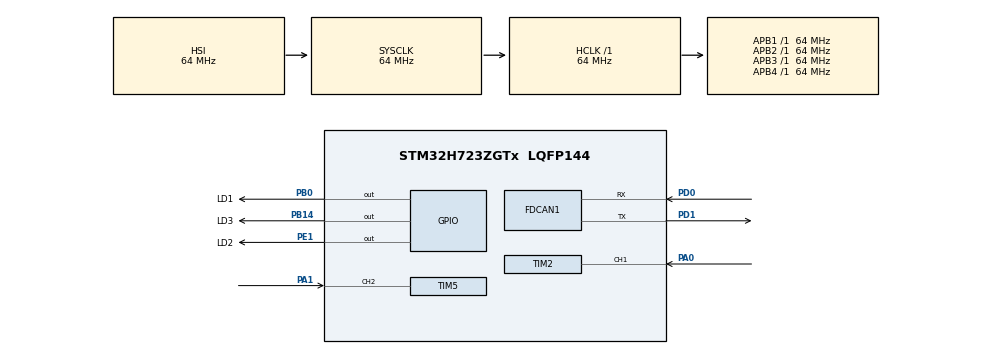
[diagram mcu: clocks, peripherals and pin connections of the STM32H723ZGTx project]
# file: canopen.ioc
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CORTEX_M7.default_mode_Activation=1
FDCAN1.AutoRetransmission=ENABLE
FDCAN1.CalculateBaudRateNominal=500000
FDCAN1.CalculateTimeBitNominal=2000
FDCAN1.CalculateTimeQuantumNominal=125.0
FDCAN1.NominalPrescaler=6
FDCAN1.NominalSyncJumpWidth=2
FDCAN1.NominalTimeSeg1=13
FDCAN1.NominalTimeSeg2=2
FDCAN1.RxFifo0ElmtsNbr=8
FDCAN1.StdFiltersNbr=1
FDCAN1.TxFifoQueueElmtsNbr=32
FREERTOS.Tasks01=defaultTask,24,128,StartDefaultTask,Default,NULL,Dynamic,NULL,NULL;canopen,40,128,canopen_task,Default,NULL,Dynamic,NULL,NULL
Mcu.Family=STM32H7
Mcu.Name=STM32H723ZGTx
Mcu.Package=LQFP144
NVIC.FDCAN1_IT0_IRQn=true\:5\:0\:false\:false\:true\:true\:true\:true\:true
NVIC.FDCAN1_IT1_IRQn=true\:5\:0\:false\:false\:true\:true\:true\:true\:true
NVIC.PriorityGroup=NVIC_PRIORITYGROUP_4
NVIC.TIM1_UP_IRQn=true\:15\:0\:false\:false\:true\:false\:false\:true\:true
NVIC.TimeBase=TIM1_UP_IRQn
NVIC.TimeBaseIP=TIM1
PA0.Signal=S_TIM2_CH1_ETR
PA1.Signal=S_TIM5_CH2
PB0.GPIO_Label=LD1
PB0.Signal=GPIO_Output
PB14.GPIO_Label=LD3
PB14.Signal=GPIO_Output
PD0.Mode=FDCAN_Activate
PD0.Signal=FDCAN1_RX
PD1.Mode=FDCAN_Activate
PD1.Signal=FDCAN1_TX
PE1.GPIO_Label=LD2
PE1.Signal=GPIO_Output
ProjectManager.HeapSize=0x200
ProjectManager.StackSize=0x400
ProjectManager.TargetToolchain=CMake
RCC.ADCFreq_Value=129000000
RCC.APB1Freq_Value=64000000
RCC.APB2Freq_Value=64000000
RCC.APB3Freq_Value=64000000
RCC.APB4Freq_Value=64000000
RCC.CortexFreq_Value=64000000
RCC.DIVM1=4
RCC.DIVN1=12
RCC.DIVQ1=4
RCC.HCLKFreq_Value=64000000
RCC.PLLFRACN=0
RCC.SYSCLKFreq_VALUE=64000000
RCC.USBFreq_Value=48000000
SH.S_TIM2_CH1_ETR.0=TIM2_CH1,Input_Capture1_from_TI1
SH.S_TIM5_CH2.0=TIM5_CH2,Input_Capture2_from_TI2
TIM2.Channel-Input_Capture1_from_TI1=TIM_CHANNEL_1
TIM5.Channel-Input_Capture2_from_TI2=TIM_CHANNEL_2
VP_FREERTOS_VS_CMSIS_V2.Mode=CMSIS_V2
VP_MEMORYMAP_VS_MEMORYMAP.Mode=CurAppReg
VP_SYS_VS_tim1.Mode=TIM1
VP_TIM17_VS_ClockSourceINT.Mode=Enable_Timer
board=custom

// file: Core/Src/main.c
/* USER CODE BEGIN Header */
/**
  ******************************************************************************
  * @file           : main.c
  * @brief          : Main program body
  ******************************************************************************
  * @attention
  *
  * Copyright (c) 2026 STMicroelectronics.
  * All rights reserved.
  *
  * This software is licensed under terms that can be found in the LICENSE file
  * in the root directory of this software component.
  * If no LICENSE file comes with this software, it is provided AS-IS.
  *
  ******************************************************************************
  */
/* USER CODE END Header */
#include "main.h"
#include "cmsis_os.h"
#include "fdcan.h"
#include "tim.h"
#include "gpio.h"

/* USER CODE BEGIN Includes */
#include "CO_app_STM32.h"
#include "stm32h7xx_hal_tim.h"

/* USER CODE END Includes */

/* USER CODE BEGIN PD */

#define MAGNET_DEBOUNCE_TIME_MS 10
#define SPARK_DEBOUNCE_TIME_MS 5
#define TIM3_CLOCK_FREQ 1000000.0f  // Adjust to your actual TIM3 clock frequency
#define TIM8_CLOCK_FREQ 1000000.0f  // Adjust to your actual TIM8 clock frequency
#define SMOOTHING_FACTOR 0.1f
#define TIRE_CIRCUMFERENCE_KM 0.0016f // Example circumference
#define PULSES_PER_REV 1.0f
#define MAX_RPM_LIMIT 4500.0f

/* USER CODE END PD */

/* USER CODE BEGIN PV */
volatile uint32_t speedometer_kmh = 0;
volatile uint32_t last_magnet_time = 0;
volatile uint32_t tach_rpm = 0;

volatile uint32_t last_spark_time = 0;
static uint32_t previous_speedometer_capture_value = 0;
static uint32_t previous_tachometer_capture_value = 0;
static float smoothed_speed_freq = 0.0f;
static float smoothed_tach_freq = 0.0f;

/* USER CODE END PV */

void SystemClock_Config(void);
static void MPU_Config(void);
void MX_FREERTOS_Init(void);

int main(void)
{

  /* MPU Configuration--------------------------------------------------------*/
  MPU_Config();

  /* MCU Configuration--------------------------------------------------------*/

  /* Reset of all peripherals, Initializes the Flash interface and the Systick. */
  HAL_Init();

  /* Configure the system clock */
  SystemClock_Config();

  /* Initialize all configured peripherals */
  MX_GPIO_Init();
  MX_FDCAN1_Init();
  MX_TIM17_Init();
  MX_TIM2_Init();
  MX_TIM5_Init();
  /* USER CODE BEGIN 2 */

  HAL_TIM_IC_Start_IT(&htim2, TIM_CHANNEL_1);
  HAL_TIM_IC_Start_IT(&htim5, TIM_CHANNEL_2);

  /* USER CODE END 2 */

  /* Init scheduler */
  osKernelInitialize();  /* Call init function for freertos objects (in cmsis_os2.c) */
  MX_FREERTOS_Init();

  /* Start scheduler */
  osKernelStart();

  /* We should never get here as control is now taken by the scheduler */

  /* Infinite loop */
  while (1)
  {

  }
}

void SystemClock_Config(void)
{
  RCC_OscInitTypeDef RCC_OscInitStruct = {0};
  RCC_ClkInitTypeDef RCC_ClkInitStruct = {0};

  /** Supply configuration update enable
  */
  HAL_PWREx_ConfigSupply(PWR_LDO_SUPPLY);

  /** Configure the main internal regulator output voltage
  */
  __HAL_PWR_VOLTAGESCALING_CONFIG(PWR_REGULATOR_VOLTAGE_SCALE3);

  while(!__HAL_PWR_GET_FLAG(PWR_FLAG_VOSRDY)) {}

  /** Initializes the RCC Oscillators according to the specified parameters
  * in the RCC_OscInitTypeDef structure.
  */
  RCC_OscInitStruct.OscillatorType = RCC_OSCILLATORTYPE_HSI;
  RCC_OscInitStruct.HSIState = RCC_HSI_DIV1;
  RCC_OscInitStruct.HSICalibrationValue = 64;
  RCC_OscInitStruct.PLL.PLLState = RCC_PLL_ON;
  RCC_OscInitStruct.PLL.PLLSource = RCC_PLLSOURCE_HSI;
  RCC_OscInitStruct.PLL.PLLM = 4;
  RCC_OscInitStruct.PLL.PLLN = 12;
  RCC_OscInitStruct.PLL.PLLP = 2;
  RCC_OscInitStruct.PLL.PLLQ = 4;
  RCC_OscInitStruct.PLL.PLLR = 2;
  RCC_OscInitStruct.PLL.PLLRGE = RCC_PLL1VCIRANGE_3;
  RCC_OscInitStruct.PLL.PLLVCOSEL = RCC_PLL1VCOWIDE;
  RCC_OscInitStruct.PLL.PLLFRACN = 0;
  if (HAL_RCC_OscConfig(&RCC_OscInitStruct) != HAL_OK)
  {
    Error_Handler();
  }

  /** Initializes the CPU, AHB and APB buses clocks
  */
  RCC_ClkInitStruct.ClockType = RCC_CLOCKTYPE_HCLK|RCC_CLOCKTYPE_SYSCLK
                              |RCC_CLOCKTYPE_PCLK1|RCC_CLOCKTYPE_PCLK2
                              |RCC_CLOCKTYPE_D3PCLK1|RCC_CLOCKTYPE_D1PCLK1;
  RCC_ClkInitStruct.SYSCLKSource = RCC_SYSCLKSOURCE_HSI;
  RCC_ClkInitStruct.SYSCLKDivider = RCC_SYSCLK_DIV1;
  RCC_ClkInitStruct.AHBCLKDivider = RCC_HCLK_DIV1;
  RCC_ClkInitStruct.APB3CLKDivider = RCC_APB3_DIV1;
  RCC_ClkInitStruct.APB1CLKDivider = RCC_APB1_DIV1;
  RCC_ClkInitStruct.APB2CLKDivider = RCC_APB2_DIV1;
  RCC_ClkInitStruct.APB4CLKDivider = RCC_APB4_DIV1;

  if (HAL_RCC_ClockConfig(&RCC_ClkInitStruct, FLASH_LATENCY_1) != HAL_OK)
  {
    Error_Handler();
  }
}

/* USER CODE BEGIN 4 */
void HAL_TIM_IC_CaptureCallback(TIM_HandleTypeDef *htim)
{
  // Ensure we are handling TIM2, Channel 1 (Speedometer)
  if (htim->Instance == TIM2 && htim->Channel == HAL_TIM_ACTIVE_CHANNEL_1)
  {
    uint32_t current_time = HAL_GetTick();

    if ((current_time - last_magnet_time) < MAGNET_DEBOUNCE_TIME_MS)
    {
      return;
    }

    uint32_t current_capture = HAL_TIM_ReadCapturedValue(htim, TIM_CHANNEL_1);
    uint32_t diff = 0;

    if (current_capture >= previous_speedometer_capture_value)
    {
      diff = current_capture - previous_speedometer_capture_value;
    }
    else
    {
      // (Period - Old) + New + 1
      diff = (htim->Init.Period - previous_speedometer_capture_value) + current_capture + 1;
    }

    if (diff > 0)
    {
      float instant_freq = (float)TIM3_CLOCK_FREQ / diff;

      // Exponential Smoothing
      smoothed_speed_freq = (instant_freq * SMOOTHING_FACTOR) + (smoothed_speed_freq * (1.0f - SMOOTHING_FACTOR));
      double smoothed_speed_kmh = smoothed_speed_freq * TIRE_CIRCUMFERENCE_KM * 3600.0;

      // Update the global volatile variable for FreeRTOS/CANopen
      speedometer_kmh = (uint32_t)smoothed_speed_kmh;

      previous_speedometer_capture_value = current_capture;
      last_magnet_time = current_time;
    }
  }

  // Ensure we are handling TIM5, Channel 2 (Tachometer)
  if (htim->Instance == TIM5 && htim->Channel == HAL_TIM_ACTIVE_CHANNEL_2)
  {
    uint32_t current_time = HAL_GetTick();

    if ((current_time - last_spark_time) < SPARK_DEBOUNCE_TIME_MS)
    {
      return;
    }

    uint32_t current_capture = HAL_TIM_ReadCapturedValue(htim, TIM_CHANNEL_2);
    uint32_t diff = 0;

    if (current_capture >= previous_tachometer_capture_value)
    {
      diff = current_capture - previous_tachometer_capture_value;
    }
    else
    {
      diff = (htim->Init.Period - previous_tachometer_capture_value) + current_capture + 1;
    }

    if (diff > 0)
    {
      float instant_freq = (float)TIM8_CLOCK_FREQ / diff;

      smoothed_tach_freq = (instant_freq * SMOOTHING_FACTOR) + (smoothed_tach_freq * (1.0f - SMOOTHING_FACTOR));

      double calculated_rpm = ((smoothed_tach_freq * 60.0f) / PULSES_PER_REV);

      if (calculated_rpm > MAX_RPM_LIMIT) {
        calculated_rpm = MAX_RPM_LIMIT;
      }

      // Update the global volatile variable for FreeRTOS/CANopen
      tach_rpm = (uint32_t)calculated_rpm;

      previous_tachometer_capture_value = current_capture;
      last_spark_time = current_time;
    }
  }
}
/* USER CODE END 4 */

 /* MPU Configuration */

void MPU_Config(void)
{
  MPU_Region_InitTypeDef MPU_InitStruct = {0};

  /* Disables the MPU */
  HAL_MPU_Disable();

  /** Initializes and configures the Region and the memory to be protected
  */
  MPU_InitStruct.Enable = MPU_REGION_ENABLE;
  MPU_InitStruct.Number = MPU_REGION_NUMBER0;
  MPU_InitStruct.BaseAddress = 0x0;
  MPU_InitStruct.Size = MPU_REGION_SIZE_4GB;
  MPU_InitStruct.SubRegionDisable = 0x87;
  MPU_InitStruct.TypeExtField = MPU_TEX_LEVEL0;
  MPU_InitStruct.AccessPermission = MPU_REGION_NO_ACCESS;
  MPU_InitStruct.DisableExec = MPU_INSTRUCTION_ACCESS_DISABLE;
  MPU_InitStruct.IsShareable = MPU_ACCESS_SHAREABLE;
  MPU_InitStruct.IsCacheable = MPU_ACCESS_NOT_CACHEABLE;
  MPU_InitStruct.IsBufferable = MPU_ACCESS_NOT_BUFFERABLE;

  HAL_MPU_ConfigRegion(&MPU_InitStruct);
  /* Enables the MPU */
  HAL_MPU_Enable(MPU_PRIVILEGED_DEFAULT);

}

void HAL_TIM_PeriodElapsedCallback(TIM_HandleTypeDef *htim)
{
  if (htim->Instance == TIM1)
  {
    HAL_IncTick();
  }
  /* USER CODE BEGIN Callback 1 */
  // Handle CANOpen app interrupts
  if (htim == canopenNodeSTM32->timerHandle) {
    canopen_app_interrupt();
  }
  /* USER CODE END Callback 1 */
}

void Error_Handler(void)
{
  __disable_irq();
  while (1)
  {
  }
}

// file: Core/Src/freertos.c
/* USER CODE BEGIN Header */
/**
  ******************************************************************************
  * File Name          : freertos.c
  * Description        : Code for freertos applications
  ******************************************************************************
  * @attention
  *
  * Copyright (c) 2026 STMicroelectronics.
  * All rights reserved.
  *
  * This software is licensed under terms that can be found in the LICENSE file
  * in the root directory of this software component.
  * If no LICENSE file comes with this software, it is provided AS-IS.
  *
  ******************************************************************************
  */
/* USER CODE END Header */

#include "FreeRTOS.h"
#include "task.h"
#include "main.h"
#include "cmsis_os.h"

/* USER CODE BEGIN Includes */
#include "fdcan.h"
#include "tim.h"
#include "stm32h7xx_hal_gpio.h"
#include "CO_app_STM32.h"
#include "OD.h"

/* USER CODE END Includes */

/* USER CODE BEGIN Variables */
extern volatile uint32_t speedometer_kmh;
extern volatile uint32_t last_magnet_time;
extern volatile uint32_t tach_rpm;

/* USER CODE END Variables */
/* Definitions for defaultTask */
osThreadId_t defaultTaskHandle;
const osThreadAttr_t defaultTask_attributes = {
  .name = "defaultTask",
  .stack_size = 128 * 4,
  .priority = (osPriority_t) osPriorityNormal,
};
/* Definitions for canopen */
osThreadId_t canopenHandle;
const osThreadAttr_t canopen_attributes = {
  .name = "canopen",
  .stack_size = 128 * 4,
  .priority = (osPriority_t) osPriorityHigh,
};

void StartDefaultTask(void *argument);
void canopen_task(void *argument);

void MX_FREERTOS_Init(void); /* (MISRA C 2004 rule 8.1) */

void MX_FREERTOS_Init(void) {

  /* Create the thread(s) */
  /* creation of defaultTask */
  defaultTaskHandle = osThreadNew(StartDefaultTask, NULL, &defaultTask_attributes);

  /* creation of canopen */
  canopenHandle = osThreadNew(canopen_task, NULL, &canopen_attributes);

}

void StartDefaultTask(void *argument)
{
  /* USER CODE BEGIN StartDefaultTask */
  /* Infinite loop */
  for(;;)
  {
    if ((HAL_GetTick() - last_magnet_time) > 1000U) {
      speedometer_kmh = 0;
    }

    OD_RAM.x2000_speedometer = (uint32_t)speedometer_kmh;
    OD_RAM.x2001_tachometer  = (uint32_t)tach_rpm;

    osDelay(1);
  }
  /* USER CODE END StartDefaultTask */
}

void canopen_task(void *argument)
{
  /* USER CODE BEGIN canopen_task */
  CANopenNodeSTM32 canOpenNodeSTM32;
  canOpenNodeSTM32.CANHandle = &hfdcan1;
  canOpenNodeSTM32.HWInitFunction = MX_FDCAN1_Init;
  canOpenNodeSTM32.timerHandle = &htim17;
  canOpenNodeSTM32.desiredNodeID = 21;
  canOpenNodeSTM32.baudrate = 500;
  canopen_app_init(&canOpenNodeSTM32);
  /* Infinite loop */
  for(;;)
  {
    //Reflect CANopenStatus on Nucleo LEDs
    //Review the hardware configuration to control the LEDs
    //Turns on the LED when pin is set to low (ergo negation)
    HAL_GPIO_WritePin(LED1_GPIO_Port, LED1_Pin, !canOpenNodeSTM32.outStatusLEDGreen);
    HAL_GPIO_WritePin(LED2_GPIO_Port, LED2_Pin, !canOpenNodeSTM32.outStatusLEDRed);
    canopen_app_process();
    // Sleep for 1ms, you can decrease it if required, in the canopen_app_process we will double check to make sure 1ms passed
    vTaskDelay(pdMS_TO_TICKS(1));
  }
  /* USER CODE END canopen_task */
}
